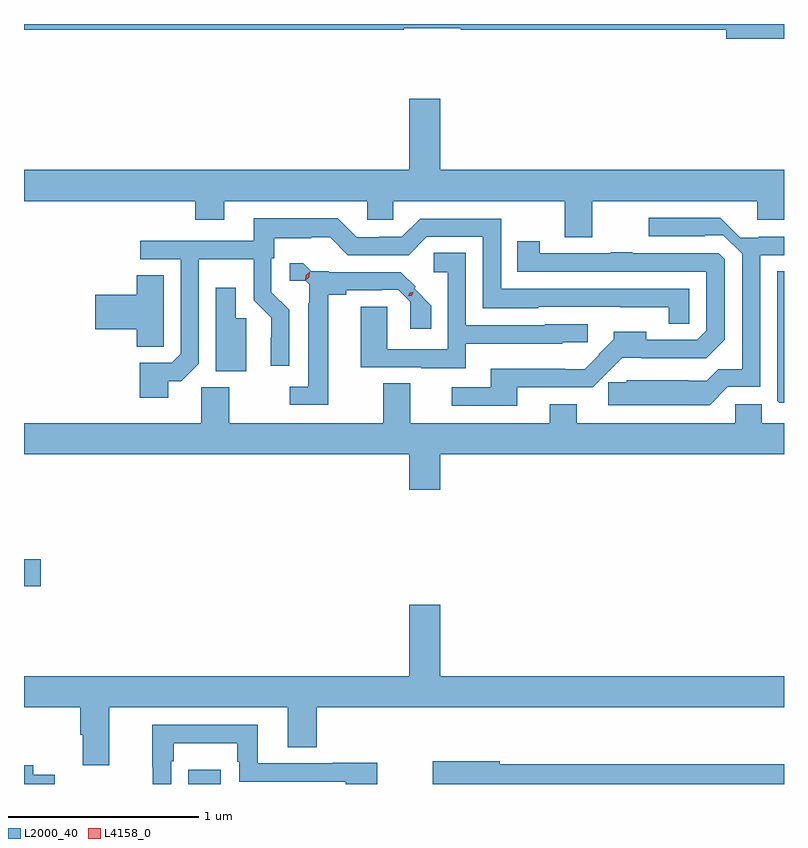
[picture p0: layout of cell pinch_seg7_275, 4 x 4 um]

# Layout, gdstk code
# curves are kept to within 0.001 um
import gdstk
lib = gdstk.Library(unit=1e-6, precision=1e-09)
def R(c, l, rs):  # rectangles x0, y0, x1, y1
    for r in rs: c.add(gdstk.rectangle(r[:2], r[2:], *l))
def P(c, l, *ps):  # polygons
    for p in ps: c.add(gdstk.Polygon(p, *l))
L2000_40 = (2000, 40)
L4158_0 = (4158, 0)

pinch_seg7_275 = lib.new_cell('pinch_seg7_275')
R(pinch_seg7_275, L2000_40, [(619.389,1054.824,619.561,1054.9), (618.525,1055.866,618.613,1056.008)])
P(pinch_seg7_275, L2000_40, [(622.525,1058.824),(618.525,1058.824),(618.525,1058.794),(620.524,1058.794),(620.524,1058.802),(620.824,1058.802),(620.824,1058.794),(622.22,1058.794),(622.22,1058.747),(622.525,1058.747)],
  [(621.517,1057.892),(622.385,1057.892),(622.385,1057.793),(622.525,1057.793),(622.525,1058.056),(620.716,1058.056),(620.716,1058.431),(620.552,1058.431),(620.552,1058.056),(618.525,1058.056),(618.525,1057.892),(619.427,1057.892),(619.427,1057.793),(619.579,1057.793),(619.579,1057.892),(620.331,1057.892),(620.331,1057.794),(620.469,1057.794),(620.469,1057.892),(621.37,1057.892),(621.37,1057.702),(621.517,1057.702)],
  [(622.23,1056.915),(622.401,1056.915),(622.401,1057.608),(622.525,1057.608),(622.525,1057.704),(622.392,1057.704),(622.392,1057.698),(622.295,1057.698),(622.19,1057.803),(621.813,1057.803),(621.813,1057.707),(622.109,1057.707),(622.109,1057.713),(622.206,1057.713),(622.305,1057.614),(622.305,1057.007),(622.178,1057.007),(622.118,1056.947),(622.022,1056.947),(622.022,1056.949),(621.698,1056.949),(621.698,1056.939),(621.599,1056.939),(621.599,1056.818),(622.133,1056.818)],
  [(619.285,1056.943),(619.353,1056.943),(619.446,1057.035),(619.446,1057.586),(619.734,1057.586),(619.734,1057.37),(619.826,1057.278),(619.826,1057.172),(619.824,1057.172),(619.824,1057.026),(619.92,1057.026),(619.92,1057.32),(619.827,1057.413),(619.827,1057.59),(619.843,1057.59),(619.843,1057.697),(620.036,1057.697),(620.036,1057.701),(620.136,1057.701),(620.229,1057.608),(620.55,1057.608),(620.646,1057.704),(620.94,1057.704),(620.94,1057.328),(621.231,1057.328),(621.231,1057.335),(621.918,1057.334),(621.918,1057.246),(622.026,1057.246),(622.026,1057.431),(621.036,1057.431),(621.036,1057.8),(620.61,1057.8),(620.514,1057.704),(620.394,1057.704),(620.394,1057.701),(620.277,1057.701),(620.177,1057.801),(619.733,1057.801),(619.733,1057.683),(619.137,1057.683),(619.137,1057.587),(619.35,1057.587),(619.35,1057.089),(619.302,1057.041),(619.133,1057.041),(619.133,1056.858),(619.285,1056.858)],
  [(621.121,1056.912),(621.519,1056.912),(621.674,1057.067),(621.775,1057.067),(621.775,1057.065),(622.117,1057.066),(622.212,1057.161),(622.212,1057.587),(622.182,1057.617),(621.725,1057.617),(621.725,1057.622),(621.613,1057.622),(621.613,1057.617),(621.24,1057.617),(621.24,1057.681),(621.121,1057.681),(621.121,1057.521),(622.116,1057.521),(622.116,1057.209),(622.068,1057.161),(621.799,1057.161),(621.799,1057.204),(621.628,1057.204),(621.628,1057.165),(621.549,1057.086),(621.552,1057.083),(621.476,1057.007),(621.374,1057.007),(621.374,1057.009),(620.981,1057.009),(620.981,1056.912),(620.775,1056.912),(620.775,1056.816),(621.121,1056.816)],
  [(620.851,1057.142),(621.357,1057.142),(621.357,1057.149),(621.492,1057.149),(621.492,1057.245),(621.267,1057.245),(621.267,1057.239),(620.85,1057.239),(620.85,1057.619),(620.682,1057.619),(620.682,1057.518),(620.754,1057.518),(620.754,1057.113),(620.437,1057.113),(620.437,1057.337),(620.297,1057.337),(620.297,1057.017),(620.615,1057.017),(620.615,1057.013),(620.851,1057.013)],
  [(620.125,1057.4),(620.221,1057.4),(620.221,1057.422),(620.408,1057.422),(620.408,1057.425),(620.496,1057.425),(620.559,1057.362),(620.559,1057.221),(620.669,1057.221),(620.669,1057.34),(620.578,1057.432),(620.586,1057.44),(620.508,1057.518),(620.128,1057.518),(620.128,1057.524),(620.037,1057.524),(619.996,1057.565),(619.923,1057.565),(619.923,1057.473),(620.007,1057.473),(620.025,1057.455),(620.025,1057.355),(620.021,1057.355),(620.021,1056.915),(619.923,1056.915),(619.923,1056.819),(620.125,1056.819)],
  [(622.525,1057.523),(622.49,1057.523),(622.49,1056.841),(622.5,1056.831),(622.525,1056.831)],
  [(619.26,1057.234),(619.261,1057.234),(619.261,1057.502),(619.118,1057.502),(619.118,1057.4),(618.9,1057.4),(618.9,1057.217),(619.118,1057.217),(619.118,1057.126),(619.26,1057.126)],
  [(619.696,1057.275),(619.639,1057.275),(619.639,1057.435),(619.535,1057.435),(619.535,1056.997),(619.696,1056.997)],
  [(620.552,1056.372),(620.716,1056.372),(620.716,1056.56),(622.525,1056.56),(622.525,1056.724),(622.408,1056.724),(622.408,1056.822),(622.269,1056.822),(622.269,1056.724),(621.433,1056.724),(621.433,1056.823),(621.293,1056.823),(621.293,1056.724),(620.557,1056.724),(620.557,1056.932),(620.417,1056.932),(620.417,1056.724),(619.605,1056.724),(619.605,1056.912),(619.458,1056.912),(619.458,1056.724),(618.525,1056.724),(618.525,1056.56),(620.552,1056.56)],
  [(618.973,1055.228),(619.913,1055.228),(619.913,1055.017),(620.066,1055.017),(620.066,1055.228),(622.525,1055.228),(622.525,1055.392),(620.716,1055.392),(620.716,1055.767),(620.552,1055.767),(620.552,1055.392),(618.525,1055.392),(618.525,1055.228),(618.821,1055.228),(618.821,1055.084),(618.833,1055.084),(618.833,1054.923),(618.973,1054.923)],
  [(619.299,1054.943),(619.312,1054.943),(619.312,1055.039),(619.647,1055.039),(619.647,1054.941),(619.659,1054.941),(619.659,1054.835),(620.219,1054.835),(620.219,1054.824),(620.384,1054.824),(620.384,1054.937),(620.149,1054.937),(620.149,1054.932),(619.756,1054.932),(619.756,1055.136),(619.201,1055.136),(619.201,1054.912),(619.203,1054.912),(619.203,1054.824),(619.299,1054.824)],
  [(622.525,1054.927),(621.028,1054.927),(621.028,1054.945),(620.676,1054.945),(620.676,1054.824),(622.525,1054.824)],
  [(618.688,1054.874),(618.574,1054.874),(618.574,1054.923),(618.525,1054.923),(618.525,1054.824),(618.688,1054.824)])
P(pinch_seg7_275, L4158_0, [(620.548,1057.391),(620.548,1057.391),(620.554,1057.41),(620.574,1057.414),(620.574,1057.414),(620.574,1057.414),(620.567,1057.395),(620.548,1057.391)],
  [(620.004,1057.474),(620.004,1057.474),(620.009,1057.501),(620.03,1057.519),(620.03,1057.519),(620.03,1057.519),(620.026,1057.491),(620.005,1057.474)])

lib.write_gds('pinch_seg7_275.gds')
